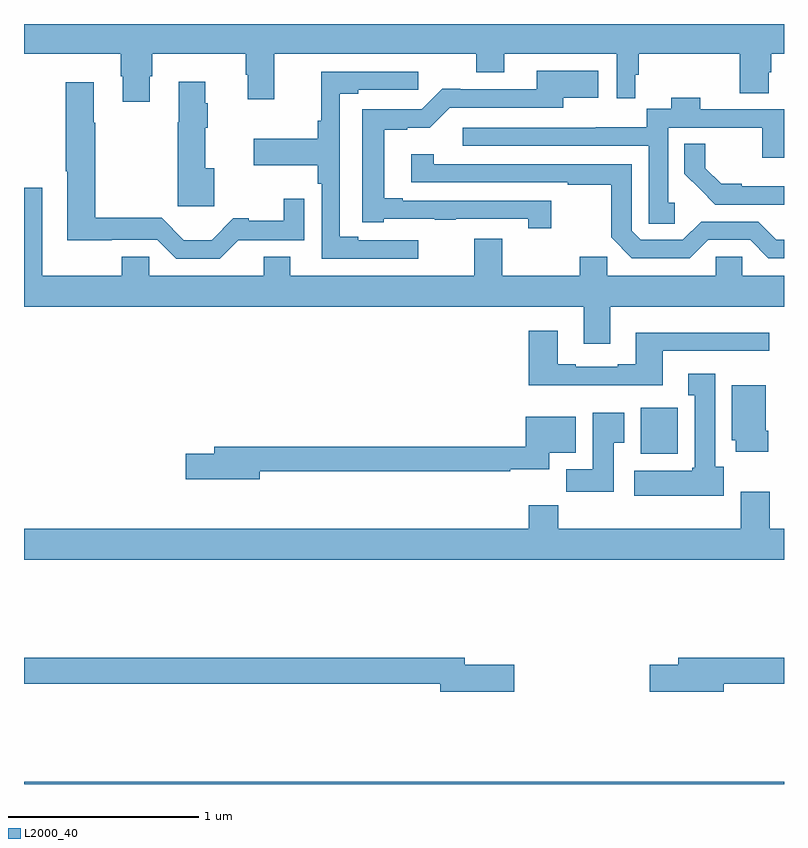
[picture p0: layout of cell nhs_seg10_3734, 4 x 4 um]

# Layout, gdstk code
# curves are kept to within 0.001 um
import gdstk
lib = gdstk.Library(unit=1e-6, precision=1e-09)
def R(c, l, rs):  # rectangles x0, y0, x1, y1
    for r in rs: c.add(gdstk.rectangle(r[:2], r[2:], *l))
def P(c, l, *ps):  # polygons
    for p in ps: c.add(gdstk.Polygon(p, *l))
L2000_40 = (2000, 40)

nhs_seg10_3734 = lib.new_cell('nhs_seg10_3734')
R(nhs_seg10_3734, L2000_40, [(315,1268.5,319,1268.512), (318.245,1270.238,318.442,1270.48)])
P(nhs_seg10_3734, L2000_40, [(315.661,1272.225),(315.674,1272.225),(315.674,1272.344),(316.166,1272.344),(316.166,1272.233),(316.178,1272.233),(316.178,1272.105),(316.318,1272.105),(316.318,1272.344),(317.38,1272.344),(317.38,1272.245),(317.527,1272.245),(317.527,1272.344),(318.12,1272.344),(318.12,1272.108),(318.217,1272.108),(318.217,1272.234),(318.236,1272.234),(318.236,1272.344),(318.767,1272.344),(318.767,1272.136),(318.919,1272.136),(318.919,1272.246),(318.932,1272.246),(318.932,1272.344),(319,1272.344),(319,1272.5),(315,1272.5),(315,1272.344),(315.509,1272.344),(315.509,1272.225),(315.521,1272.225),(315.521,1272.09),(315.661,1272.09)],
  [(317.776,1271.571),(316.993,1271.571),(316.993,1271.584),(316.897,1271.584),(316.897,1271.943),(317.016,1271.943),(317.016,1271.954),(317.135,1271.954),(317.241,1272.06),(317.839,1272.06),(317.839,1272.113),(318.022,1272.113),(318.022,1272.253),(317.699,1272.253),(317.699,1272.156),(317.296,1272.156),(317.296,1272.158),(317.201,1272.158),(317.094,1272.051),(316.781,1272.051),(316.781,1271.457),(316.893,1271.457),(316.893,1271.475),(317.161,1271.475),(317.161,1271.47),(317.273,1271.47),(317.273,1271.475),(317.655,1271.475),(317.655,1271.424),(317.776,1271.424)],
  [(317.074,1271.361),(316.759,1271.361),(316.759,1271.379),(316.662,1271.379),(316.662,1272.133),(316.759,1272.133),(316.759,1272.153),(317.074,1272.153),(317.074,1272.249),(316.564,1272.249),(316.564,1271.992),(316.546,1271.992),(316.546,1271.896),(316.209,1271.896),(316.209,1271.756),(316.546,1271.756),(316.546,1271.66),(316.566,1271.66),(316.566,1271.265),(317.074,1271.265)],
  [(316,1271.741),(315.955,1271.741),(315.955,1271.954),(315.968,1271.954),(315.968,1272.083),(315.955,1272.083),(315.955,1272.196),(315.815,1272.196),(315.815,1271.983),(315.808,1271.983),(315.808,1271.54),(316,1271.54)],
  [(316.127,1271.363),(316.476,1271.363),(316.476,1271.581),(316.368,1271.581),(316.368,1271.465),(316.183,1271.465),(316.183,1271.477),(316.102,1271.477),(315.987,1271.362),(315.842,1271.362),(315.724,1271.48),(315.375,1271.48),(315.375,1271.98),(315.367,1271.98),(315.367,1272.193),(315.22,1272.193),(315.22,1271.725),(315.227,1271.725),(315.227,1271.363),(315.702,1271.364),(315.801,1271.265),(316.029,1271.265)],
  [(318.426,1271.56),(318.391,1271.56),(318.391,1271.955),(318.643,1271.955),(318.643,1271.954),(318.886,1271.954),(318.886,1271.796),(319,1271.796),(319,1272.051),(318.56,1272.051),(318.56,1272.112),(318.407,1272.112),(318.407,1272.055),(318.278,1272.055),(318.278,1271.956),(318.009,1271.956),(318.009,1271.955),(317.31,1271.955),(317.31,1271.859),(318.287,1271.859),(318.287,1271.557),(318.288,1271.557),(318.288,1271.449),(318.426,1271.449)],
  [(319,1271.647),(318.778,1271.647),(318.778,1271.658),(318.669,1271.658),(318.586,1271.741),(318.586,1271.87),(318.476,1271.87),(318.476,1271.713),(318.56,1271.63),(318.559,1271.629),(318.638,1271.55),(319,1271.55)],
  [(318.6,1271.364),(318.822,1271.364),(318.918,1271.268),(319,1271.268),(319,1271.365),(318.959,1271.365),(318.864,1271.46),(318.564,1271.46),(318.468,1271.364),(318.246,1271.364),(318.198,1271.412),(318.198,1271.763),(317.157,1271.763),(317.157,1271.815),(317.037,1271.815),(317.037,1271.667),(317.863,1271.667),(317.863,1271.655),(318.09,1271.655),(318.09,1271.377),(318.198,1271.268),(318.504,1271.268)],
  [(316.262,1271.275),(316.262,1271.176),(315.66,1271.176),(315.66,1271.274),(315.514,1271.274),(315.514,1271.176),(315.097,1271.176),(315.097,1271.638),(315,1271.638),(315,1271.012),(317.945,1271.012),(317.945,1270.818),(318.085,1270.818),(318.085,1271.012),(319,1271.012),(319,1271.176),(318.78,1271.176),(318.78,1271.274),(318.642,1271.274),(318.642,1271.176),(318.071,1271.176),(318.071,1271.274),(317.926,1271.274),(317.926,1271.176),(317.517,1271.176),(317.517,1271.371),(317.369,1271.371),(317.369,1271.176),(316.402,1271.176),(316.402,1271.275)],
  [(318.361,1270.779),(318.922,1270.779),(318.922,1270.876),(318.221,1270.876),(318.221,1270.708),(318.125,1270.708),(318.125,1270.695),(317.905,1270.695),(317.905,1270.708),(317.809,1270.708),(317.809,1270.885),(317.657,1270.885),(317.657,1270.598),(318.361,1270.598)],
  [(318.682,1270.17),(318.637,1270.17),(318.637,1270.66),(318.497,1270.66),(318.497,1270.547),(318.53,1270.547),(318.53,1270.164),(318.517,1270.164),(318.517,1270.15),(318.213,1270.15),(318.213,1270.016),(318.682,1270.016)],
  [(318.917,1270.36),(318.904,1270.36),(318.904,1270.6),(318.725,1270.6),(318.725,1270.308),(318.746,1270.308),(318.746,1270.248),(318.917,1270.248)],
  [(318.103,1270.297),(318.16,1270.297),(318.16,1270.453),(317.993,1270.453),(317.993,1270.156),(317.854,1270.156),(317.854,1270.038),(318.103,1270.038)],
  [(316.24,1270.146),(317.558,1270.146),(317.558,1270.157),(317.764,1270.157),(317.764,1270.244),(317.905,1270.244),(317.905,1270.432),(317.642,1270.432),(317.642,1270.274),(316.001,1270.274),(316.001,1270.238),(315.852,1270.238),(315.852,1270.103),(316.24,1270.103)],
  [(319,1269.844),(318.926,1269.844),(318.926,1270.039),(318.773,1270.039),(318.773,1269.844),(317.813,1269.844),(317.813,1269.968),(317.657,1269.968),(317.657,1269.844),(315,1269.844),(315,1269.68),(319,1269.68)],
  [(318.682,1269.028),(319,1269.028),(319,1269.164),(318.443,1269.164),(318.443,1269.128),(318.294,1269.128),(318.294,1268.986),(318.682,1268.986)],
  [(317.581,1269.128),(317.32,1269.128),(317.32,1269.164),(315,1269.164),(315,1269.028),(317.192,1269.028),(317.192,1268.986),(317.581,1268.986)])

lib.write_gds('nhs_seg10_3734.gds')
